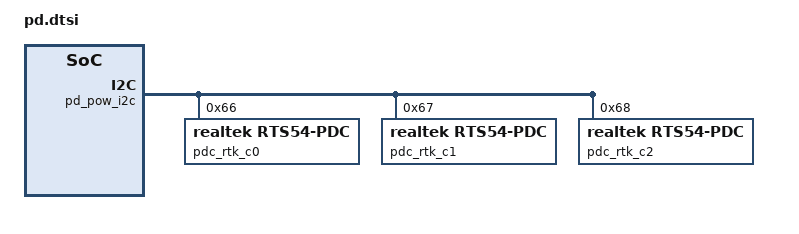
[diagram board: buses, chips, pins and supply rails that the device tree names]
/* Copyright 2024 The ChromiumOS Authors
 * Use of this source code is governed by a BSD-style license that can be
 * found in the LICENSE file.
 */

#include <dt-bindings/gpio_defines.h>

/* typec-aic1-power */
&pd_pow_i2c {
	pdc_rtk_c0: rts54-pdc@66 {
		compatible = "realtek,rts54-pdc";
		reg = <0x66>;
		irq-gpios = <PD_POW_IRQ_GPIO GPIO_ACTIVE_LOW>;
		ccd;
	};
	pdc_rtk_c1: rts54-pdc@67 {
		compatible = "realtek,rts54-pdc";
		reg = <0x67>;
		irq-gpios = <PD_POW_IRQ_GPIO GPIO_ACTIVE_LOW>;
		no-fw-update;
	};
	pdc_rtk_c2: rts54-pdc@68 {
		compatible = "realtek,rts54-pdc";
		reg = <0x68>;
		irq-gpios = <PD_POW_IRQ_GPIO GPIO_ACTIVE_LOW>;
	};
};

&gpio_pdc_pow_irq {
	no-auto-init;
};
